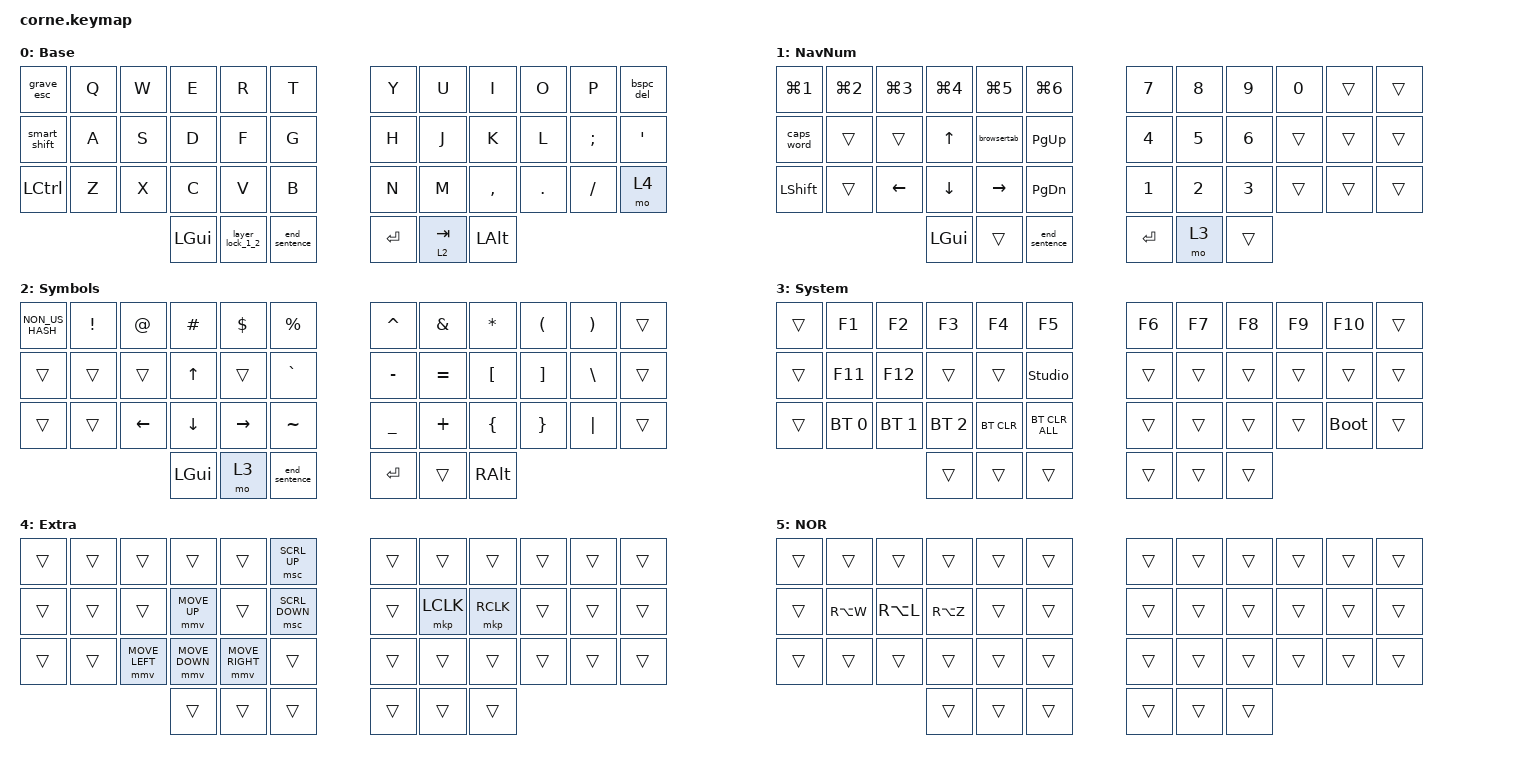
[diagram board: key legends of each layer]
#include "keys_nb.h"
#include "zmk-helpers/helper.h"
#include <behaviors/unicode.dtsi>
#include <behaviors.dtsi>
#include <dt-bindings/zmk/bt.h>
#include <dt-bindings/zmk/keys.h>
#include <dt-bindings/zmk/pointing.h>

#define DEF 0
#define NAV 1
#define SYM 2
#define ADJ 3
#define EXTRA 4

/ {
    behaviors {
        hm: homerow_mods {
            compatible = "zmk,behavior-hold-tap";
            #binding-cells = <2>;
            tapping-term-ms = <200>;
            flavor = "tap-preferred";
            bindings = <&kp>, <&kp>;

            quick-tap-ms = <180>;
            require-prior-idle-ms = <120>; /* tune to taste */
        };

        para: para {
            compatible = "zmk,behavior-tap-dance";
            #binding-cells = <0>;
            bindings = <&kp LEFT_PARENTHESIS>, <&kp RIGHT_PARENTHESIS>;
        };

        caps: caps {
            compatible = "zmk,behavior-caps-word";
            #binding-cells = <0>;
            continue-list = <MINUS BACKSPACE>;
        };

        paraless: paraless {
            compatible = "zmk,behavior-mod-morph";
            bindings = <&kp LEFT_PARENTHESIS>, <&kp LESS_THAN>;

            #binding-cells = <0>;
            mods = <(MOD_LSFT)>;
        };

        paragreat: paragreat {
            compatible = "zmk,behavior-mod-morph";
            bindings = <&kp RIGHT_PARENTHESIS>, <&kp GREATER_THAN>;

            #binding-cells = <0>;
            mods = <(MOD_LSFT)>;
        };

        bspc_del: bspc_del {
            compatible = "zmk,behavior-mod-morph";
            #binding-cells = <0>;
            bindings = <&kp BSPC>, <&kp DEL>;
            mods = <(MOD_LSFT|MOD_RSFT)>;
        };

        layer_lock_1: layer_lock_1 {
            compatible = "zmk,behavior-tap-dance";
            #binding-cells = <0>;
            tapping-term-ms = <200>;
            bindings = <&mo 1>, <&tog 1>;
        };

        layer_lock_2: layer_lock_2 {
            compatible = "zmk,behavior-tap-dance";
            #binding-cells = <0>;
            tapping-term-ms = <200>;
            bindings = <&mo 2>, <&tog 2>;
        };

        layer_lock_1_2: layer_lock_1_2 {
            compatible = "zmk,behavior-tap-dance";
            #binding-cells = <0>;
            tapping-term-ms = <200>;
            bindings = <&mo 1>, <&tog 1>;
        };

        smart_shift: smart_shift {
            compatible = "zmk,behavior-tap-dance";
            #binding-cells = <0>;
            tapping-term-ms = <200>;
            bindings = <&sk LSHFT>, <&caps_word>;
        };

        end_sentence: end_sentence {
            compatible = "zmk,behavior-mod-morph";
            #binding-cells = <0>;
            bindings = <&kp SPACE>, <&dot_space>;
            mods = <(MOD_LSFT|MOD_RSFT)>;
        };

        grave_esc: grave_esc {
            compatible = "zmk,behavior-mod-morph";
            #binding-cells = <0>;
            bindings = <&kp ESC>, <&kp GRAVE>;
            mods = <(MOD_LSFT|MOD_RSFT|MOD_LGUI|MOD_RGUI)>;
            keep-mods = <(MOD_LSFT|MOD_RSFT)>;
        };
    };

    macros {
        browsertab: browsertab {
            compatible = "zmk,behavior-macro";
            #binding-cells = <0>;
            bindings =
                <&macro_press>,
                <&kp LCTRL>,
                <&macro_tap>,
                <&kp TAB>,
                <&macro_release>,
                <&kp LCTRL>;
        };

        aa_win: ae {
            compatible = "zmk,behavior-macro";
            #binding-cells = <0>;
            bindings =
                <&macro_press>,
                <&kp LEFT_ALT>,
                <&macro_tap>,
                <&kp KP_NUMBER_0 &kp KP_NUMBER_2 &kp KP_NUMBER_2 &kp KP_NUMBER_9>,
                <&macro_release>,
                <&kp LALT>;

            label = "AE";
        };

        aa_win_shift: aa_win_shift {
            compatible = "zmk,behavior-macro";
            #binding-cells = <0>;
            bindings =
                <&macro_press>,
                <&kp LALT>,
                <&macro_tap>,
                <&kp KP_N0 &kp KP_N1 &kp KP_N9 &kp KP_N7>,
                <&macro_release>,
                <&kp LALT>;

            label = "AA_WIN_SHIFT";
        };

        aa_osx: aa_osx {
            compatible = "zmk,behavior-macro";
            #binding-cells = <0>;
            bindings =
                <&macro_press>,
                <&kp LALT>,
                <&macro_tap>,
                <&kp A>,
                <&macro_release>,
                <&kp LALT>;

            label = "AA_OSX";
        };

        oe_win: oe_win {
            compatible = "zmk,behavior-macro";
            #binding-cells = <0>;
            bindings =
                <&macro_press>,
                <&kp LALT>,
                <&macro_tap>,
                <&kp KP_N0 &kp KP_N2 &kp KP_N4 &kp KP_N8>,
                <&macro_release>,
                <&kp LALT>;

            label = "OE_WIN";
        };

        oe_win_shift: oe_win_shift {
            compatible = "zmk,behavior-macro";
            #binding-cells = <0>;
            bindings =
                <&macro_press>,
                <&kp LALT>,
                <&macro_tap>,
                <&kp KP_N0 &kp KP_N2 &kp KP_N1 &kp KP_N6>,
                <&macro_release>,
                <&kp LALT>;

            label = "OE_WIN_SHIFT";
        };

        aa_osx_shift: aa_osx_shift {
            compatible = "zmk,behavior-macro";
            #binding-cells = <0>;
            bindings =
                <&macro_press>,
                <&kp LALT &kp LEFT_SHIFT>,
                <&macro_tap>,
                <&kp A>,
                <&macro_release>,
                <&kp LALT &kp LEFT_SHIFT>;

            label = "AA_OSX_SHIFT";
        };

        oe_osx: oe_osx {
            compatible = "zmk,behavior-macro";
            #binding-cells = <0>;
            bindings =
                <&macro_press>,
                <&kp LALT>,
                <&macro_tap>,
                <&kp O>,
                <&macro_release>,
                <&kp LALT>;

            label = "OE_OSX";
        };

        oe_osx_shift: oe_osx_shift {
            compatible = "zmk,behavior-macro";
            #binding-cells = <0>;
            bindings =
                <&macro_press>,
                <&kp LALT &kp LEFT_SHIFT>,
                <&macro_tap>,
                <&kp O>,
                <&macro_release>,
                <&kp LALT &kp LEFT_SHIFT>;

            label = "OE_OSX_SHIFT";
        };

        ae_win: ae_win {
            compatible = "zmk,behavior-macro";
            #binding-cells = <0>;
            bindings =
                <&macro_press>,
                <&kp LALT>,
                <&macro_tap>,
                <&kp KP_N0 &kp KP_N2 &kp KP_N3 &kp KP_N0>,
                <&macro_release>,
                <&kp LALT>;

            label = "AE_WIN";
        };

        ae_win_shift: ae_win_shift {
            compatible = "zmk,behavior-macro";
            #binding-cells = <0>;
            bindings =
                <&macro_press>,
                <&kp LALT>,
                <&macro_tap>,
                <&kp KP_N0 &kp KP_N1 &kp KP_N9 &kp KP_N8>,
                <&macro_release>,
                <&kp LALT>;

            label = "AE_WIN_SHIFT";
        };

        ae_osx: ae_osx {
            compatible = "zmk,behavior-macro";
            #binding-cells = <0>;
            bindings =
                <&macro_press>,
                <&kp LALT>,
                <&macro_tap>,
                <&kp APOSTROPHE>,
                <&macro_release>,
                <&kp LALT>;

            label = "AE_OSX";
        };

        ae_osx_shift: ae_osx_shift {
            compatible = "zmk,behavior-macro";
            #binding-cells = <0>;
            bindings =
                <&macro_press>,
                <&kp LALT &kp LEFT_SHIFT>,
                <&macro_tap>,
                <&kp APOSTROPHE>,
                <&macro_release>,
                <&kp LALT &kp LEFT_SHIFT>;

            label = "AE_OSX_SHIFT";
        };

        dot_space: dot_space {
            compatible = "zmk,behavior-macro";
            #binding-cells = <0>;
            bindings = <&macro_tap>, <&kp DOT>, <&kp SPACE>, <&sk LSHFT>;
        };
    };

    combos {
        compatible = "zmk,combos";

        escape {
            bindings = <&kp ESCAPE>;
            key-positions = <13 29>;
        };

        delete {
            bindings = <&kp DELETE>;
            key-positions = <15 21>;
        };

        perc {
            bindings = <&kp PERCENT>;
            key-positions = <5 17>;
            layers = <0>;
        };

        equal {
            bindings = <&kp EQUAL>;
            key-positions = <28 16>;
            layers = <0>;
        };

        dollar {
            bindings = <&kp DOLLAR>;
            key-positions = <4 16>;
            layers = <0>;
        };

        pound {
            bindings = <&kp POUND>;
            key-positions = <3 15>;
            layers = <0>;
        };

        at {
            bindings = <&kp AT>;
            key-positions = <2 14>;
            layers = <0>;
        };

        backslash {
            bindings = <&kp BACKSLASH>;
            key-positions = <26 14>;
            layers = <0>;
        };

        star {
            bindings = <&kp STAR>;
            key-positions = <8 20>;
            layers = <0>;
        };

        slash {
            bindings = <&kp SLASH>;
            key-positions = <32 20>;
            layers = <0>;
        };

        plus {
            bindings = <&kp PLUS>;
            key-positions = <7 19>;
            layers = <0>;
        };

        minus {
            bindings = <&kp KP_MINUS>;
            key-positions = <31 19>;
            layers = <0>;
        };

        underscore {
            bindings = <&kp UNDER>;
            key-positions = <30 18>;
            layers = <0>;
        };

        leftbrack {
            bindings = <&kp LEFT_BRACKET>;
            key-positions = <31 32>;
            layers = <0>;
        };

        rightbrack {
            bindings = <&kp RIGHT_BRACKET>;
            key-positions = <33 32>;
            layers = <0>;
        };

        para-less {
            bindings = <&paraless>;
            key-positions = <20 19>;
            layers = <0>;
        };

        para-great {
            bindings = <&paragreat>;
            key-positions = <20 21>;
            layers = <0>;
        };

        copy {
            bindings = <&kp LC(C)>;
            key-positions = <26 27>;
        };

        paste {
            bindings = <&kp LC(V)>;
            key-positions = <28 27>;
        };
    };

    //

    keymap {
        compatible = "zmk,keymap";

        DEF {
            display-name = "Base";

            // -----------------------------------------------------------------------------------------
            // |  Q  |  W  |  E  |  R  |  T  |   |  Y  |  U   |  I  |  O  |  P  |
            // |  A  |  S  |  D  |  F  |  G  |   |  H  |  J   |  K  |  L  |  ;  |
            // |  Z  |  X  |  C  |  V  |  B  |   |  N  |  M   |  ,  |  .  |  /  |
            // | GUI | CTRL | SHFT | LWR | SPC |   | ENT | RSE  | BKSP | ALT | ESC |

            bindings = <
&grave_esc      &kp Q  &kp W  &kp E     &kp R  &kp T        &kp Y    &kp U      &kp I         &kp O    &kp P     &bspc_del
&smart_shift    &kp A  &kp S  &kp D     &kp F  &kp G        &kp H    &kp J      &kp K         &kp L    &kp SEMI  &kp SQT
&kp LCTRL       &kp Z  &kp X  &kp C     &kp V  &kp B        &kp N    &kp M      &kp COMMA     &kp DOT  &kp FSLH  &mo 4
                              &kp LGUI  &layer_lock_1_2 &end_sentence &kp RET  &lt 2 TAB  &kp LEFT_ALT
            >;
        };

        NAV {
            display-name = "NavNum";

            // -----------------------------------------------------------------------------------------
            // |  TAB |  1  |  2  |  3  |  4  |  5  |   |  6  |  7  |  8  |  9  |  0  | BKSP |
            // | BTCLR| BT1 | BT2 | BT3 | BT4 | BT5 |   | LFT | DWN |  UP | RGT |     |      |
            // | SHFT |     |     |     |     |     |   |     |     |     |     |     |      |
            // | GUI | CTRL | SHFT | LWR | SPC |   | ENT | RSE  | BKSP | ALT | ESC |

            bindings = <
&kp LG(NUMBER_1)  &kp LG(NUMBER_2)  &kp LG(NUMBER_3)  &kp LG(NUMBER_4)  &kp LG(NUMBER_5)  &kp LG(NUMBER_6)    &kp N7   &kp N8  &kp N9  &kp N0  &trans  &trans
&caps_word        &trans            &trans            &kp UP            &browsertab       &kp PAGE_UP         &kp N4   &kp N5  &kp N6  &trans  &trans  &trans
&kp LEFT_SHIFT    &trans            &kp LEFT_ARROW    &kp DOWN          &kp RIGHT         &kp PAGE_DOWN       &kp N1   &kp N2  &kp N3  &trans  &trans  &trans
                                                      &kp LGUI          &trans            &end_sentence       &kp RET  &mo 3   &trans
            >;
        };

        SYM {
            display-name = "Symbols";

            // -----------------------------------------------------------------------------------------
            // |  TAB |  !  |  @  |  #  |  $  |  %  |   |  ^  |  &  |  *  |  (  |  )  | BKSP |
            // | CTRL |     |     |     |     |     |   |  -  |  =  |  [  |  ]  |  \  |  `   |
            // | SHFT |     |     |     |     |     |   |  _  |  +  |  {  |  }  | "|" |  ~   |
            //                    | GUI |     | SPC |   | ENT |     | ALT |

            bindings = <
&kp NON_US_HASH &kp EXCL  &kp AT          &kp HASH        &kp DLLR         &kp PRCNT    &kp CARET  &kp AMPS   &kp ASTRK      &kp LEFT_PARENTHESIS  &kp RPAR  &trans
&trans  &trans    &trans          &kp UP_ARROW    &trans           &kp GRAVE    &kp MINUS  &kp EQUAL  &kp LBKT       &kp RBKT              &kp BSLH  &trans
&trans  &trans    &kp LEFT_ARROW  &kp DOWN_ARROW  &kp RIGHT_ARROW  &kp TILDE    &kp UNDER  &kp PLUS   &kp LBRC       &kp RBRC              &kp PIPE  &trans
                                  &kp LGUI        &mo 3            &end_sentence &kp RET    &trans     &kp RIGHT_ALT
            >;
        };

        ADJ {
            display-name = "System";
            bindings = <
&trans  &kp F1        &kp F2        &kp F3        &kp F4      &kp F5            &kp F6  &kp F7  &kp F8  &kp F9  &kp F10      &trans
&trans  &kp F11       &kp F12       &trans        &trans      &studio_unlock    &trans  &trans  &trans  &trans  &trans       &trans
&trans  &bt BT_SEL 0  &bt BT_SEL 1  &bt BT_SEL 2  &bt BT_CLR  &bt BT_CLR_ALL    &trans  &trans  &trans  &trans  &bootloader  &trans
                                    &trans        &trans      &trans            &trans  &trans  &trans
            >;
        };

        EXTRA {
            display-name = "Extra";
            bindings = <
&trans  &trans  &trans          &trans          &trans           &msc SCRL_UP      &trans  &trans     &trans     &trans  &trans  &trans
&trans  &trans  &trans          &mmv MOVE_UP    &trans           &msc SCRL_DOWN    &trans  &mkp LCLK  &mkp RCLK  &trans  &trans  &trans
&trans  &trans  &mmv MOVE_LEFT  &mmv MOVE_DOWN  &mmv MOVE_RIGHT  &trans            &trans  &trans     &trans     &trans  &trans  &trans
                                &trans          &trans           &trans            &trans  &trans     &trans
            >;
        };

        NOR {
            display-name = "NOR";
            bindings = <
&trans  &trans      &trans      &trans      &trans  &trans    &trans  &trans  &trans  &trans  &trans  &trans
&trans  &kp RA(W)   &kp RA(L)   &kp RA(Z)   &trans  &trans    &trans  &trans  &trans  &trans  &trans  &trans
&trans  &trans      &trans      &trans      &trans  &trans    &trans  &trans  &trans  &trans  &trans  &trans
                                &trans      &trans  &trans    &trans  &trans  &trans
            >;
        };

    };

    conditional_layers {
        compatible = "zmk,conditional-layers";

        uuh {
            if-layers = <4 2>;
            then-layer = <5>;
        };
    };
};
